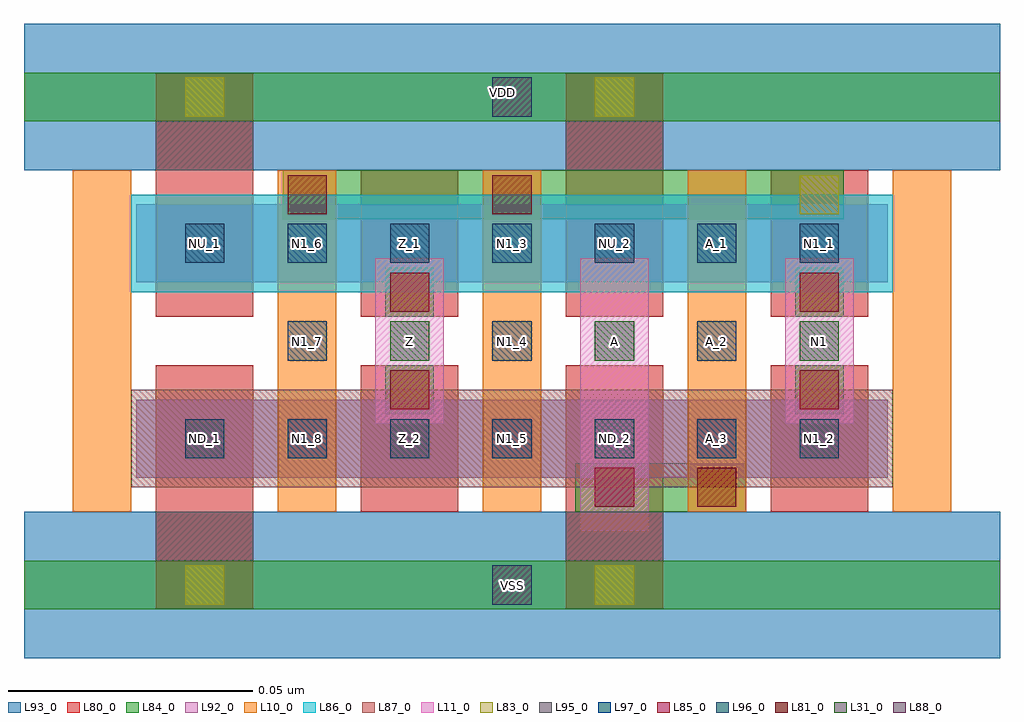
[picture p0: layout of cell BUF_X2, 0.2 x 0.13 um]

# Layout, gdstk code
import gdstk
lib = gdstk.Library(unit=1e-6, precision=1e-09)
def R(c, l, rs):  # rectangles x0, y0, x1, y1
    for r in rs: c.add(gdstk.rectangle(r[:2], r[2:], *l))
def A(c, l, x, y, w, h, nx, ny, dx, dy):  # array of equal rectangles
    R(c, l, [(x+i*dx, y+j*dy, x+i*dx+w, y+j*dy+h) for i in range(nx) for j in range(ny)])
L10_0 = (10, 0)
L11_0 = (11, 0)
L31_0 = (31, 0)
L80_0 = (80, 0)
L81_0 = (81, 0)
L83_0 = (83, 0)
L84_0 = (84, 0)
L85_0 = (85, 0)
L86_0 = (86, 0)
L87_0 = (87, 0)
L88_0 = (88, 0)
L92_0 = (92, 0)
L93_0 = (93, 0)
L95_0 = (95, 0)
L96_0 = (96, 0)
L97_0 = (97, 0)

buf_x2 = lib.new_cell('BUF_X2')
A(buf_x2, L10_0, -0.027, 0.015, 0.012, 0.07, 5, 1, 0.042, 0)
R(buf_x2, L11_0, [(0.077,0.011,0.091,0.067), (0.035,0.033,0.049,0.067), (0.119,0.033,0.133,0.067)])
A(buf_x2, L31_0, 0.038, 0.046, 0.008, 0.008, 3, 1, 0.042, 0)
A(buf_x2, L80_0, -0.01, 0.015, 0.02, 0.03, 4, 2, 0.042, 0.04)
R(buf_x2, L80_0, [(-0.01,-0.005,0.01,0.025), (0.074,-0.005,0.094,0.025), (-0.01,0.075,0.01,0.105), (0.074,0.075,0.094,0.105)])
R(buf_x2, L81_0, [(0.101,0.016,0.109,0.024), (0.017,0.076,0.025,0.084), (0.017,0.076,0.025,0.084), (0.017,0.076,0.025,0.084), (0.059,0.076,0.067,0.084)])
R(buf_x2, L83_0, [(-0.004,-0.004,0.004,0.004), (0.08,-0.004,0.088,0.004), (0.038,0.036,0.046,0.044), (0.038,0.036,0.046,0.044), (0.122,0.036,0.13,0.044), (0.122,0.036,0.13,0.044), (0.038,0.056,0.046,0.064), (0.038,0.056,0.046,0.064), (0.122,0.056,0.13,0.064), (0.122,0.056,0.13,0.064), (0.122,0.076,0.13,0.084), (-0.004,0.096,0.004,0.104), (0.08,0.096,0.088,0.104)])
A(buf_x2, L84_0, 0.016, 0.075, 0.031, 0.01, 5, 1, 0.021, 0)
R(buf_x2, L84_0, [(-0.037,-0.005,0.163,0.005), (0.076,0.015,0.111,0.025), (0.037,0.035,0.047,0.045), (0.037,0.035,0.047,0.045), (0.121,0.035,0.131,0.045), (0.121,0.035,0.131,0.045), (0.037,0.055,0.047,0.065), (0.037,0.055,0.047,0.065), (0.121,0.055,0.131,0.065), (-0.037,0.095,0.163,0.105)])
R(buf_x2, L85_0, [(0.08,0.016,0.088,0.024), (0.038,0.036,0.046,0.044), (0.038,0.036,0.046,0.044), (0.122,0.036,0.13,0.044), (0.122,0.036,0.13,0.044), (0.038,0.056,0.046,0.064), (0.038,0.056,0.046,0.064), (0.122,0.056,0.13,0.064), (0.122,0.056,0.13,0.064)])
R(buf_x2, L86_0, [(-0.015,0.06,0.141,0.08)])
R(buf_x2, L87_0, [(-0.015,0.02,0.141,0.04)])
R(buf_x2, L88_0, [(0.059,-0.004,0.067,0.004), (0.059,0.096,0.067,0.104)])
R(buf_x2, L92_0, [(-0.014,0.022,0.14,0.038), (-0.014,0.062,0.14,0.078)])
R(buf_x2, L93_0, [(-0.037,-0.015,0.163,0.015), (-0.037,0.085,0.163,0.115)])
R(buf_x2, L95_0, [(-0.01,0.005,0.01,0.015), (0.074,0.005,0.094,0.015), (-0.01,0.085,0.01,0.095), (0.074,0.085,0.094,0.095)])
A(buf_x2, L96_0, -0.004, 0.026, 0.008, 0.008, 4, 2, 0.042, 0.04)
A(buf_x2, L97_0, 0.017, 0.026, 0.008, 0.008, 3, 3, 0.042, 0.02)
buf_x2.add(gdstk.Label('N1_6', (0.021,0.07), layer=97, texttype=0))
buf_x2.add(gdstk.Label('N1_7', (0.021,0.05), layer=97, texttype=0))
buf_x2.add(gdstk.Label('N1_3', (0.063,0.07), layer=97, texttype=0))
buf_x2.add(gdstk.Label('N1_4', (0.063,0.05), layer=97, texttype=0))
buf_x2.add(gdstk.Label('N1_5', (0.063,0.03), layer=97, texttype=0))
buf_x2.add(gdstk.Label('A_2', (0.105,0.05), layer=97, texttype=0))
buf_x2.add(gdstk.Label('A_1', (0.105,0.07), layer=97, texttype=0))
buf_x2.add(gdstk.Label('A_3', (0.105,0.03), layer=97, texttype=0))
buf_x2.add(gdstk.Label('N1_8', (0.021,0.03), layer=97, texttype=0))
buf_x2.add(gdstk.Label('NU_1', (0,0.07), layer=96, texttype=0))
buf_x2.add(gdstk.Label('Z_1', (0.042,0.07), layer=96, texttype=0))
buf_x2.add(gdstk.Label('NU_2', (0.084,0.07), layer=96, texttype=0))
buf_x2.add(gdstk.Label('Z_2', (0.042,0.03), layer=96, texttype=0))
buf_x2.add(gdstk.Label('ND_2', (0.084,0.03), layer=96, texttype=0))
buf_x2.add(gdstk.Label('N1_2', (0.126,0.03), layer=96, texttype=0))
buf_x2.add(gdstk.Label('N1_1', (0.126,0.07), layer=96, texttype=0))
buf_x2.add(gdstk.Label('ND_1', (0,0.03), layer=96, texttype=0))
buf_x2.add(gdstk.Label('VDD', (0.061,0.101), layer=88, texttype=0))
buf_x2.add(gdstk.Label('VSS', (0.063,0), layer=88, texttype=0))
buf_x2.add(gdstk.Label('Z', (0.042,0.05), layer=31, texttype=0))
buf_x2.add(gdstk.Label('N1', (0.126,0.05), layer=31, texttype=0))
buf_x2.add(gdstk.Label('A', (0.084,0.05), layer=31, texttype=0))

lib.write_gds('BUF_X2.gds')
